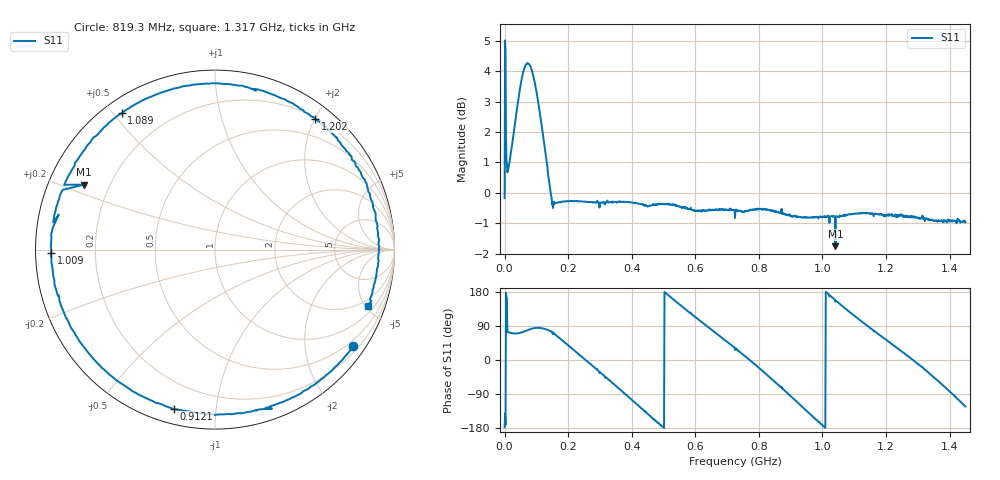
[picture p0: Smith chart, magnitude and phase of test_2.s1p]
! Created with skrf 1.11.0 (http://scikit-rf.org).
# Hz S RI R 50.0
!freq ReS11 ImS11
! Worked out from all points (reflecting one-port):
!   1001 points, 50 kHz to 1.45 GHz, reference 50 ohm
!   lowest |S11| = -1.8 dB at 1.041 GHz (marker M1), VSWR 9.91, Z = 5.32 + j11.6 ohm
!   phase of S11 starts at -178 deg and turns -1025 deg over the sweep
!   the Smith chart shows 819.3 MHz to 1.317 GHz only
!   S11 on the Smith chart (normalised r, x): 819.3 MHz: 0.35, -3.15; 912.1 MHz: 0.07, -0.77; 1.009 GHz: 0.05, -0.01; 1.089 GHz: 0.05, +0.53; 1.202 GHz: 0.22, +2.01; 1.317 GHz: 1.49, -5.20
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50000  -0.9793 -0.0375
1.599945e7  0.347 1.074
6.819765e7  0.3541 1.589
1.17496e8  0.1329 1.276
1.812938e8  0.5979 0.7603
2.682908e8  0.9528 -0.1564
3.625375e8  0.2142 -0.9442
4.103858e8  -0.3689 -0.8888
4.64034e8  -0.844 -0.4447
5.437812e8  -0.8329 0.4588
6.36578e8  0.0117 0.9344
7.25025e8  0.8118 0.4082
7.757732e8  0.936 -0.0529
8.192718e8  0.771 -0.5362
8.642202e8  0.3462 -0.8601
9.062688e8  -0.1552 -0.9001
9.120686e8  -0.23 -0.8878
9.657167e8  -0.7564 -0.5085
1.009215e9  -0.9135 -0.0162
1.041114e9  -0.7322 0.3618
1.087512e9  -0.5323 0.752
1.088962e9  -0.5206 0.7599
1.142611e9  0.0091 0.9264
1.202059e9  0.5577 0.7285
1.268756e9  0.8961 0.162
1.316605e9  0.8504 -0.3129
1.389102e9  0.2482 -0.8637
1.45e9  -0.482 -0.7533
